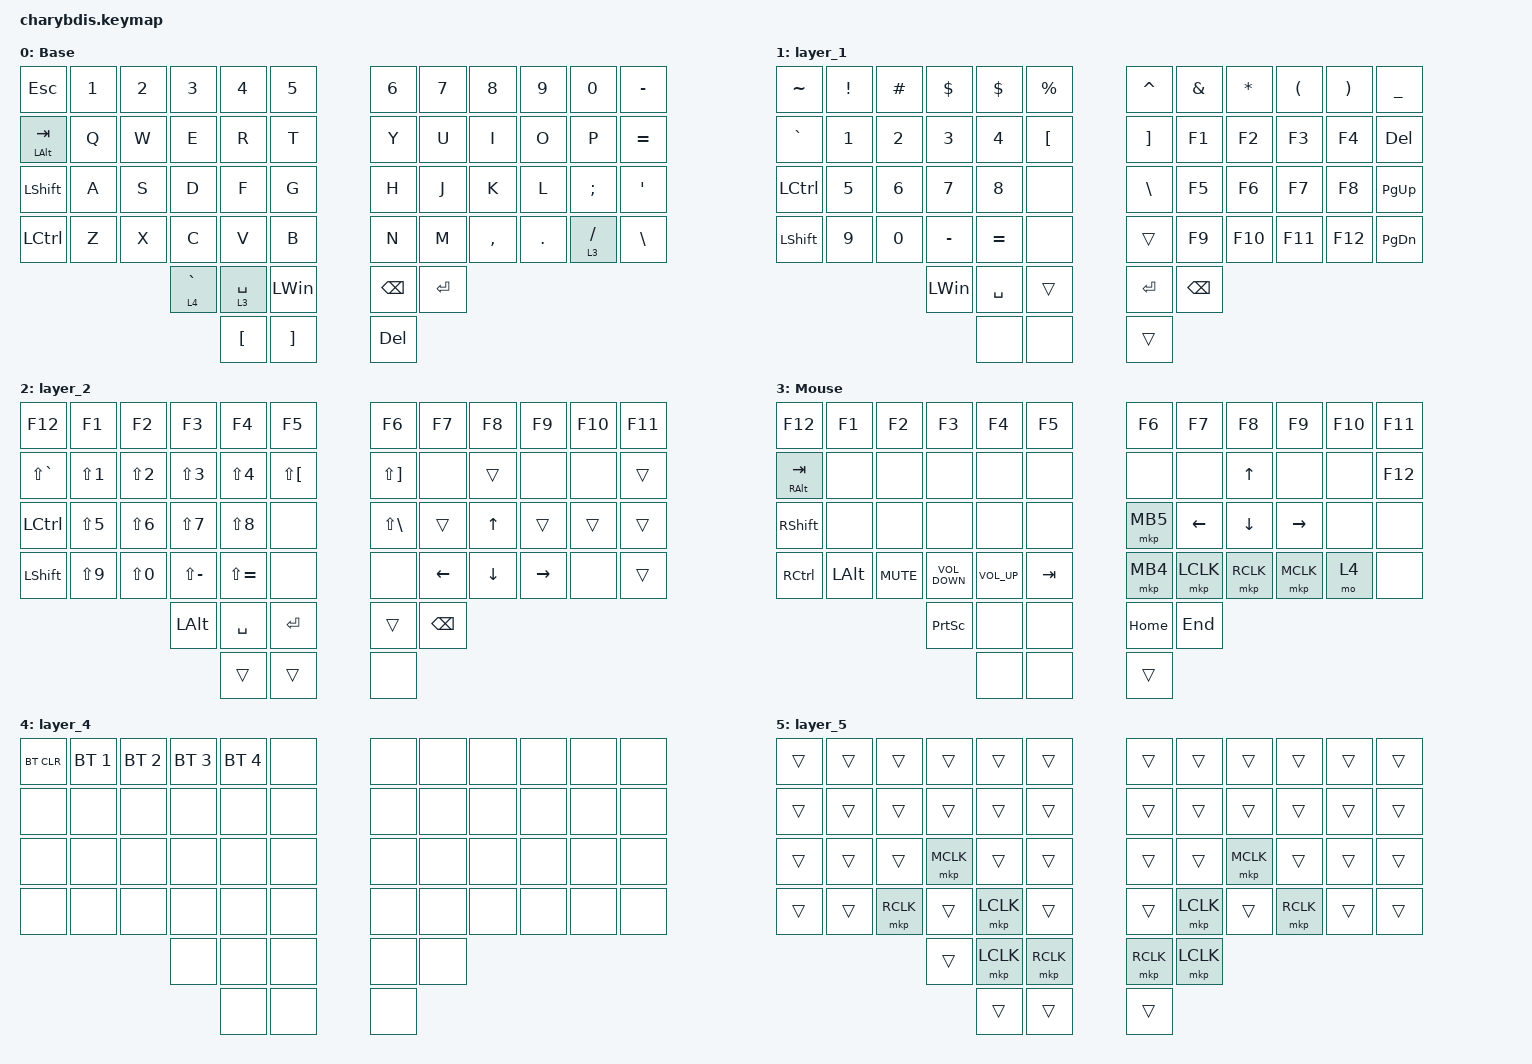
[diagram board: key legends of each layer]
#include <behaviors.dtsi>
#include <dt-bindings/zmk/bt.h>
#include <dt-bindings/zmk/keys.h>
#include <dt-bindings/zmk/mouse.h>
#include <input/processors.dtsi>

&lt {
    tapping-term-ms = <200>;
    flavor = "balanced";
    quick-tap-ms = <150>;
};

/* extend auto mouse layer duration, when mkp(mouse keys) is pressed */
&mkp_input_listener {
    input-processors = <&zip_temp_layer 3 650>;
};

/ {
    combos {
        compatible = "zmk,combos";

        escc {
            bindings = <&kp ESC>;
            key-positions = <17 18>;
            layers = <0>;
        };
    };

    macros {
        password: password {
            compatible = "zmk,behavior-macro";
            #binding-cells = <0>;
            bindings = <&kp LS(U) &kp B &kp I &kp LS(L) &kp E &kp A &kp F &kp E &kp O &kp N &kp N1 &kp N0 &kp N2 &kp N7 &kp EXCL>;
            label = "PASSWORD";
        };
    };

    keymap {
        compatible = "zmk,keymap";

        Base {
            bindings = <
&kp ESC           &kp N1  &kp N2  &kp N3       &kp N4            &kp N5               &kp N6         &kp N7     &kp N8     &kp N9   &kp N0       &kp MINUS
&mt LEFT_ALT TAB  &kp Q   &kp W   &kp E        &kp R             &kp T                &kp Y          &kp U      &kp I      &kp O    &kp P        &kp EQUAL
&kp LEFT_SHIFT    &kp A   &kp S   &kp D        &kp F             &kp G                &kp H          &kp J      &kp K      &kp L    &kp SEMI     &kp APOS
&kp LCTRL         &kp Z   &kp X   &kp C        &kp V             &kp B                &kp N          &kp M      &kp COMMA  &kp DOT  &lt 3 SLASH  &kp BACKSLASH
                                  &lt 4 GRAVE  &lt 3 SPACE       &kp LEFT_WIN         &kp BACKSPACE  &kp ENTER
                                               &kp LEFT_BRACKET  &kp RIGHT_BRACKET    &kp DELETE
            >;
        };

        layer_1 {
            bindings = <
&kp TILDE         &kp EXCLAMATION  &kp HASH      &kp DOLLAR    &kp DOLLAR    &kp PERCENT    &kp CARET  &kp AMPERSAND  &kp ASTERISK  &kp LEFT_PARENTHESIS  &kp RIGHT_PARENTHESIS  &kp UNDERSCORE
&kp GRAVE         &kp NUMBER_1     &kp NUMBER_2  &kp NUMBER_3  &kp NUMBER_4  &kp LBKT       &kp RBKT   &kp F1         &kp F2        &kp F3                &kp F4                 &kp DEL
&kp LEFT_CONTROL  &kp NUMBER_5     &kp NUMBER_6  &kp NUMBER_7  &kp NUMBER_8  &none          &kp BSLH   &kp F5         &kp F6        &kp F7                &kp F8                 &kp PAGE_UP
&kp LSHFT         &kp NUMBER_9     &kp NUMBER_0  &kp MINUS     &kp EQUAL     &none          &trans     &kp F9         &kp F10       &kp F11               &kp F12                &kp PAGE_DOWN
                                                 &kp LEFT_WIN  &kp SPACE     &trans         &kp ENTER  &kp BACKSPACE
                                                               &none         &none          &trans
            >;
        };

        layer_2 {
            bindings = <
&kp F12           &kp F1      &kp F2      &kp F3         &kp F4         &kp F5          &kp F6        &kp F7         &kp F8    &kp F9     &kp F10  &kp F11
&kp LS(GRAVE)     &kp LS(N1)  &kp LS(N2)  &kp LS(N3)     &kp LS(N4)     &kp LS(LBKT)    &kp LS(RBKT)  &none          &trans    &none      &none    &trans
&kp LEFT_CONTROL  &kp LS(N5)  &kp LS(N6)  &kp LS(N7)     &kp LS(N8)     &none           &kp LS(BSLH)  &trans         &kp UP    &trans     &trans   &trans
&kp LEFT_SHIFT    &kp LS(N9)  &kp LS(N0)  &kp LS(MINUS)  &kp LS(EQUAL)  &none           &none         &kp LEFT       &kp DOWN  &kp RIGHT  &none    &trans
                                          &kp LEFT_ALT   &kp SPACE      &kp ENTER       &trans        &kp BACKSPACE
                                                         &trans         &trans          &none
            >;
        };

        Mouse {
            bindings = <
&kp F12            &kp F1  &kp F2      &kp F3           &kp F4             &kp F5       &kp F6    &kp F7          &kp F8          &kp F9           &kp F10  &kp F11
&mt RIGHT_ALT TAB  &none   &none       &none            &none              &none        &none     &none           &kp UP_ARROW    &none            &none    &kp F12
&kp RIGHT_SHIFT    &none   &none       &none            &none              &none        &mkp MB5  &kp LEFT_ARROW  &kp DOWN_ARROW  &kp RIGHT_ARROW  &none    &none
&kp RIGHT_CONTROL  &kp LEFT_ALT   &kp K_MUTE  &kp C_VOLUME_DOWN &kp C_VOLUME_UP  &kp TAB    &mkp MB4  &mkp LCLK       &mkp RCLK       &mkp MCLK        &mo 4    &none
                                       &kp PRINTSCREEN  &none              &none        &kp HOME  &kp END
                                                        &none              &none        &trans
            >;
        };

        layer_4 {
            bindings = <
&bt BT_CLR  &bt BT_SEL 1  &bt BT_SEL 2  &bt BT_SEL 3  &bt BT_SEL 4  &none    &none  &none  &none  &none  &none  &none
&none       &none         &none         &none         &none         &none    &none  &none  &none  &none  &none  &none
&none       &none         &none         &none         &none         &none    &none  &none  &none  &none  &none  &none
&none       &none         &none         &none         &none         &none    &none  &none  &none  &none  &none  &none
                                        &none         &none         &none    &none  &none
                                                      &none         &none    &none
            >;
        };

        layer_5 {
            bindings = <
&trans  &trans  &trans     &trans     &trans     &trans       &trans     &trans     &trans     &trans     &trans  &trans
&trans  &trans  &trans     &trans     &trans     &trans       &trans     &trans     &trans     &trans     &trans  &trans
&trans  &trans  &trans     &mkp MCLK  &trans     &trans       &trans     &trans     &mkp MCLK  &trans     &trans  &trans
&trans  &trans  &mkp RCLK  &trans     &mkp LCLK  &trans       &trans     &mkp LCLK  &trans     &mkp RCLK  &trans  &trans
                           &trans     &mkp LCLK  &mkp RCLK    &mkp RCLK  &mkp LCLK
                                      &trans     &trans       &trans
            >;
        };
    };
};
